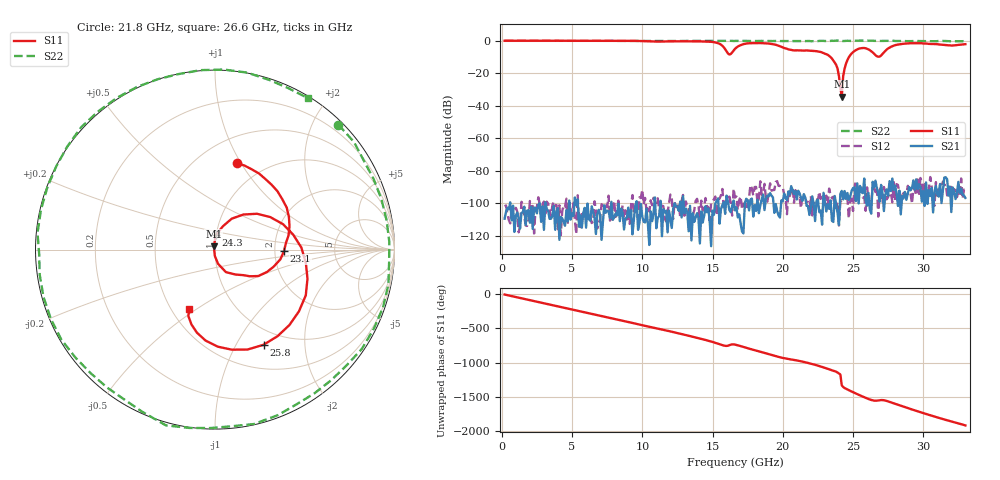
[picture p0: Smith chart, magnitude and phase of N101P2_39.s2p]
# GHZ S RI R 50
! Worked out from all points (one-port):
!   329 points, 200 MHz to 33 GHz, reference 50 ohm
!   lowest |S11| = -34.3 dB at 24.2 GHz (marker M1), VSWR 1.04, Z = 49.3 + j1.78 ohm
!   |S11| at or under -10 dB: 23.4 GHz to 24.72 GHz (1.322 GHz wide, 5.5 % of centre)
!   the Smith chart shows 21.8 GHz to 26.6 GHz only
!   S11 on the Smith chart (normalised r, x): 21.8 GHz: 0.75, +0.96; 23.1 GHz: 2.25, -0.03; 24.3 GHz: 1.00, +0.16; 25.8 GHz: 0.79, -1.30; 26.6 GHz: 0.62, -0.47
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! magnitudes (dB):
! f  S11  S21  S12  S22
! 200 MHz  0.0  -109.3  -101.8  0.0
! 5.7 GHz  0.0  -114.9  -104.7  0.0
! 11.2 GHz  -0.6  -107.9  -103.6  -0.1
! 15.1 GHz  -0.9  -106.9  -97.5  -0.1
! 15.7 GHz  -3.1  -101.1  -91.1  0.0
! 16.2 GHz  -8.5  -104.1  -95.8  -0.1
! 16.6 GHz  -5.0  -104.3  -96.4  -0.1
! 18.4 GHz  -1.5  -101.1  -86.4  -0.1
! 21.8 GHz  -6.1  -101.5  -99.0  -0.2
! 22.1 GHz  -6.2  -95.6  -107.4  -0.3
! 23.1 GHz  -8.3  -104.9  -95.2  -0.2
! 23.9 GHz  -17.1  -105.8  -99.2  0.1
! 24.2 GHz  -34.3  -92.3  -98.0  -0.2
! 24.3 GHz  -21.8  -97.5  -98.8  -0.2
! 24.5 GHz  -14.2  -97.2  -95.0  -0.1
! 24.8 GHz  -8.9  -95.9  -98.8  -0.1
! 25.8 GHz  -4.5  -84.6  -96.0  0.0
! 26.6 GHz  -8.9  -86.0  -93.1  -0.1
! 26.9 GHz  -9.8  -98.9  -91.8  -0.2
! 27.6 GHz  -4.3  -86.3  -93.8  -0.1
! 29 GHz  -1.5  -89.9  -91.6  -0.2
! 33 GHz  -2.2  -96.6  -91.5  -0.2
